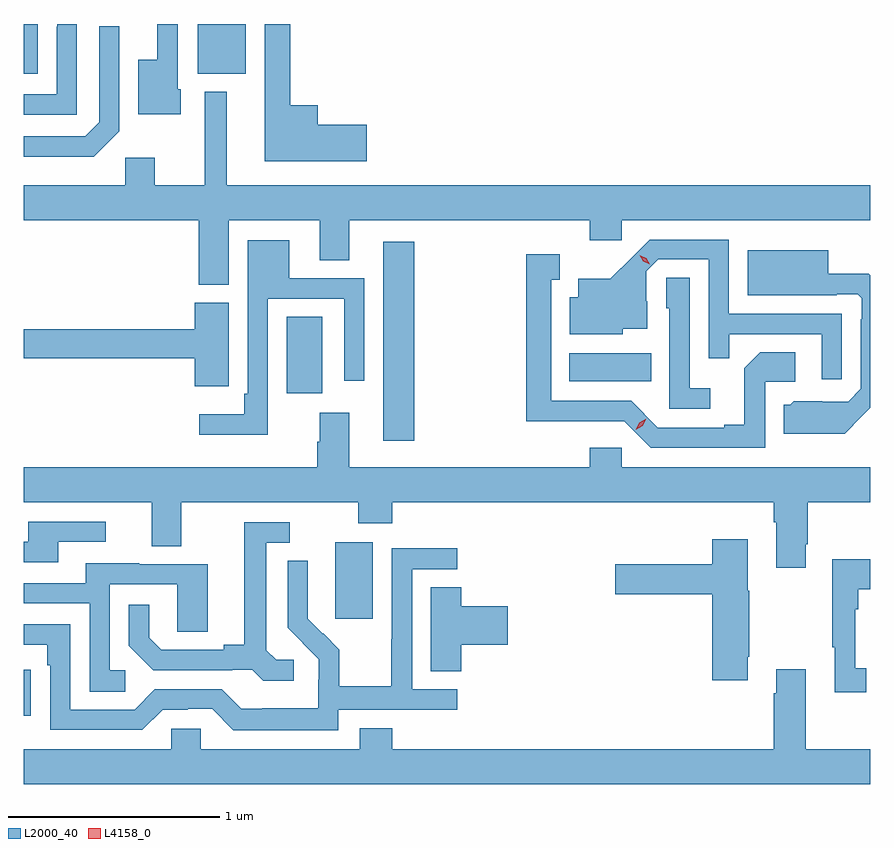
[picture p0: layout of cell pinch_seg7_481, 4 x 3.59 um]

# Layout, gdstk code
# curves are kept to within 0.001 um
import gdstk
lib = gdstk.Library(unit=1e-6, precision=1e-09)
def R(c, l, rs):  # rectangles x0, y0, x1, y1
    for r in rs: c.add(gdstk.rectangle(r[:2], r[2:], *l))
def P(c, l, *ps):  # polygons
    for p in ps: c.add(gdstk.Polygon(p, *l))
L2000_40 = (2000, 40)
L4158_0 = (4158, 0)

pinch_seg7_481 = lib.new_cell('pinch_seg7_481')
R(pinch_seg7_481, L2000_40, [(229.363,1068.87,229.397,1069.088), (230.834,1069.329,231.013,1069.69), (231.062,1070.169,231.209,1071.109), (230.606,1070.394,230.773,1070.756), (231.941,1070.45,232.328,1070.584), (229.363,1071.905,229.429,1072.139), (230.186,1071.905,230.413,1072.139)])
P(pinch_seg7_481, L2000_40, [(229.614,1072.139),(229.521,1072.139),(229.521,1072.127),(229.518,1072.127),(229.518,1071.807),(229.363,1071.807),(229.363,1071.711),(229.614,1071.711)],
  [(230.983,1071.662),(230.752,1071.662),(230.752,1071.754),(230.623,1071.754),(230.623,1072.139),(230.501,1072.139),(230.501,1071.491),(230.983,1071.491)],
  [(230.104,1071.831),(230.091,1071.831),(230.091,1072.139),(229.994,1072.139),(229.994,1071.97),(229.904,1071.97),(229.904,1071.713),(230.104,1071.713)],
  [(229.815,1071.633),(229.815,1072.129),(229.719,1072.129),(229.719,1071.675),(229.653,1071.609),(229.363,1071.609),(229.363,1071.512),(229.694,1071.512)],
  [(230.332,1071.212),(230.762,1071.212),(230.762,1071.022),(230.902,1071.022),(230.902,1071.212),(232.037,1071.212),(232.037,1071.117),(232.188,1071.117),(232.188,1071.212),(233.363,1071.212),(233.363,1071.376),(230.323,1071.376),(230.323,1071.82),(230.219,1071.82),(230.219,1071.376),(229.981,1071.376),(229.981,1071.508),(229.842,1071.508),(229.842,1071.376),(229.363,1071.376),(229.363,1071.212),(230.189,1071.212),(230.189,1070.908),(230.332,1070.908)],
  [(233.229,1070.769),(232.695,1070.769),(232.695,1071.12),(232.322,1071.12),(232.135,1070.935),(231.983,1070.935),(231.983,1070.848),(231.944,1070.848),(231.944,1070.672),(232.194,1070.672),(232.194,1070.699),(232.309,1070.699),(232.309,1070.828),(232.305,1070.828),(232.305,1070.97),(232.362,1071.027),(232.599,1071.027),(232.599,1070.56),(232.697,1070.56),(232.697,1070.673),(233.133,1070.673),(233.133,1070.46),(233.229,1070.46)],
  [(230.517,1070.841),(230.877,1070.841),(230.877,1070.454),(230.973,1070.454),(230.973,1070.937),(230.617,1070.937),(230.617,1071.118),(230.421,1071.118),(230.421,1070.392),(230.405,1070.392),(230.405,1070.296),(230.193,1070.296),(230.193,1070.198),(230.517,1070.198)],
  [(233.323,1070.285),(233.363,1070.325),(233.363,1070.952),(233.356,1070.959),(233.164,1070.959),(233.164,1071.07),(232.784,1071.07),(232.784,1070.858),(233.204,1070.858),(233.204,1070.862),(233.304,1070.862),(233.322,1070.844),(233.322,1070.744),(233.319,1070.744),(233.319,1070.415),(233.259,1070.355),(233.002,1070.356),(232.986,1070.34),(232.955,1070.34),(232.955,1070.204),(233.243,1070.204)],
  [(232.866,1070.448),(233.008,1070.448),(233.008,1070.588),(232.843,1070.588),(232.767,1070.512),(232.767,1070.245),(232.673,1070.245),(232.673,1070.232),(232.359,1070.232),(232.233,1070.358),(231.856,1070.358),(231.856,1070.931),(231.895,1070.931),(231.895,1071.052),(231.738,1071.052),(231.738,1070.261),(232.2,1070.262),(232.326,1070.136),(232.866,1070.136)],
  [(232.606,1070.419),(232.509,1070.419),(232.509,1070.939),(232.398,1070.939),(232.398,1070.796),(232.413,1070.796),(232.413,1070.322),(232.606,1070.322)],
  [(230.331,1070.539),(230.332,1070.539),(230.332,1070.823),(230.171,1070.823),(230.171,1070.696),(229.363,1070.696),(229.363,1070.56),(230.171,1070.56),(230.171,1070.427),(230.331,1070.427)],
  [(233.059,1069.681),(233.067,1069.681),(233.067,1069.88),(233.363,1069.88),(233.363,1070.044),(232.188,1070.044),(232.188,1070.137),(232.037,1070.137),(232.037,1070.044),(230.902,1070.044),(230.902,1070.302),(230.762,1070.302),(230.762,1070.165),(230.75,1070.165),(230.75,1070.044),(229.363,1070.044),(229.363,1069.88),(229.967,1069.88),(229.967,1069.672),(230.107,1069.672),(230.107,1069.88),(230.944,1069.88),(230.944,1069.781),(231.104,1069.781),(231.104,1069.88),(232.907,1069.88),(232.907,1069.784),(232.919,1069.784),(232.919,1069.569),(233.059,1069.569)],
  [(229.525,1069.692),(229.75,1069.692),(229.75,1069.788),(229.385,1069.788),(229.385,1069.692),(229.363,1069.692),(229.363,1069.596),(229.525,1069.596)],
  [(230.638,1069.134),(230.556,1069.134),(230.509,1069.181),(230.509,1069.689),(230.62,1069.689),(230.62,1069.785),(230.405,1069.785),(230.405,1069.205),(230.309,1069.205),(230.309,1069.182),(230.014,1069.182),(229.957,1069.239),(229.957,1069.396),(229.86,1069.396),(229.86,1069.202),(229.976,1069.086),(230.348,1069.086),(230.348,1069.089),(230.442,1069.089),(230.494,1069.037),(230.638,1069.037)],
  [(232.783,1069.15),(232.791,1069.15),(232.791,1069.461),(232.783,1069.461),(232.783,1069.705),(232.616,1069.705),(232.616,1069.587),(232.158,1069.587),(232.158,1069.445),(232.616,1069.445),(232.616,1069.038),(232.783,1069.038)],
  [(230.85,1068.9),(231.412,1068.9),(231.412,1068.996),(231.198,1068.996),(231.198,1069.563),(231.412,1069.563),(231.412,1069.662),(231.102,1069.662),(231.102,1069.232),(231.1,1069.232),(231.1,1069.009),(230.855,1069.009),(230.855,1069.183),(230.778,1069.26),(230.775,1069.257),(230.705,1069.328),(230.706,1069.604),(230.61,1069.604),(230.61,1069.286),(230.756,1069.138),(230.756,1069.041),(230.754,1069.041),(230.754,1068.907),(230.491,1068.907),(230.491,1068.903),(230.391,1068.903),(230.298,1068.996),(229.983,1068.996),(229.887,1068.9),(229.584,1068.9),(229.584,1069.302),(229.363,1069.302),(229.363,1069.206),(229.475,1069.206),(229.475,1069.109),(229.488,1069.109),(229.488,1068.804),(229.923,1068.804),(230.019,1068.9),(230.138,1068.9),(230.138,1068.903),(230.253,1068.903),(230.353,1068.803),(230.85,1068.803)],
  [(233.344,1069.094),(233.292,1069.094),(233.292,1069.373),(233.305,1069.373),(233.305,1069.469),(233.363,1069.469),(233.363,1069.609),(233.184,1069.609),(233.184,1069.193),(233.195,1069.193),(233.195,1068.981),(233.344,1068.981)],
  [(229.843,1069.086),(229.77,1069.086),(229.77,1069.491),(230.088,1069.491),(230.088,1069.267),(230.233,1069.267),(230.233,1069.587),(229.909,1069.587),(229.909,1069.591),(229.655,1069.591),(229.655,1069.497),(229.363,1069.497),(229.363,1069.401),(229.674,1069.401),(229.674,1068.985),(229.843,1068.985)],
  [(231.431,1069.205),(231.649,1069.205),(231.649,1069.388),(231.431,1069.388),(231.431,1069.478),(231.287,1069.478),(231.287,1069.081),(231.431,1069.081)],
  [(233.363,1068.712),(233.059,1068.712),(233.059,1069.09),(232.919,1069.09),(232.919,1068.977),(232.907,1068.977),(232.907,1068.712),(231.104,1068.712),(231.104,1068.811),(230.951,1068.811),(230.951,1068.712),(230.199,1068.712),(230.199,1068.81),(230.061,1068.81),(230.061,1068.712),(229.363,1068.712),(229.363,1068.548),(233.363,1068.548)])
P(pinch_seg7_481, L4158_0, [(232.321,1071.003),(232.29,1071.018),(232.273,1071.047),(232.273,1071.047),(232.273,1071.047),(232.304,1071.032),(232.321,1071.003),(232.321,1071.003)],
  [(232.255,1070.221),(232.255,1070.222),(232.272,1070.254),(232.304,1070.274),(232.304,1070.274),(232.304,1070.273),(232.287,1070.241),(232.255,1070.221)])

lib.write_gds('pinch_seg7_481.gds')
